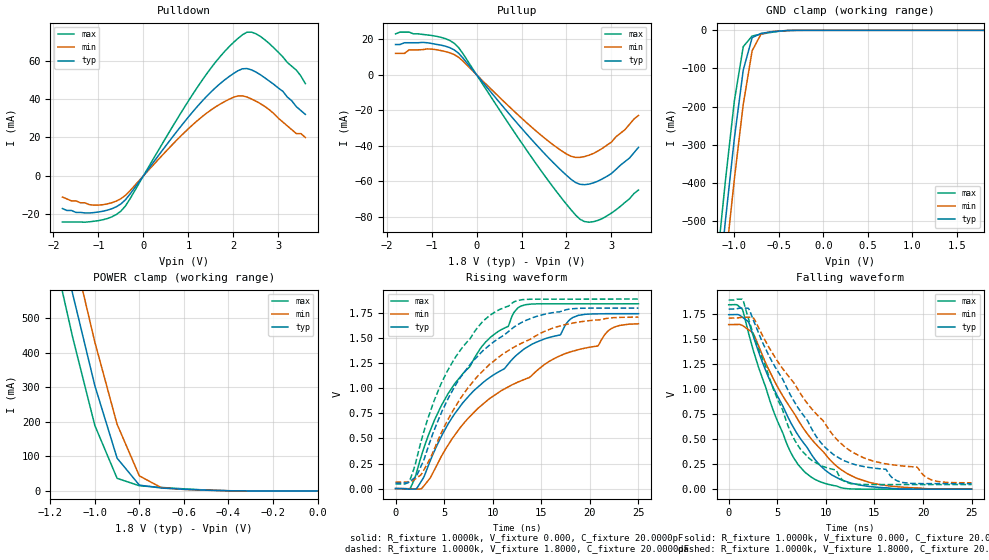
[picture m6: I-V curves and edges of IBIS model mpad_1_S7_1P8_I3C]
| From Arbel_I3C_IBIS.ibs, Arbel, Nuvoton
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[Model]   mpad_1_S7_1P8_I3C
Model_type   I/O
Polarity   Non-Inverting
Enable   Active-Low
Vinl = 0.6000V
Vinh = 1.2300V
C_comp   3.6000pF   3.5000pF   3.7000pF
[Temperature Range]   50.0000   100.0   0.000
[Voltage Range]   1.8000V   1.7100V   1.8900V
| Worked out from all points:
|   slope of the pulldown table from 0 to 0.27 V, typ, clamps not added: 31.6 ohm
|   slope of the pullup table from 0 to 0.27 V, typ, clamps not added: 32.4 ohm
|   GND clamp passes 1 mA (typ) near -0.43 V on its own axis
|   POWER clamp passes 1 mA (typ) near -0.43 V on its own axis
|   rising waveform, R_fixture 1.0000k, V_fixture 0.000, C_fixture 20.0000pF: 20-80 % time 9.4ns typ, 12ns min, 6.61ns max; typ from 0 V to 1.74 V
|   rising waveform, R_fixture 1.0000k, V_fixture 1.8000, C_fixture 20.0000pF: 20-80 % time 6.62ns typ, 7.71ns min, 5.37ns max; typ from 0.055 V to 1.8 V
|   falling waveform, R_fixture 1.0000k, V_fixture 0.000, C_fixture 20.0000pF: 20-80 % time 5.51ns typ, 6.55ns min, 4.1ns max; typ from 1.74 V to 0 V
|   falling waveform, R_fixture 1.0000k, V_fixture 1.8000, C_fixture 20.0000pF: 20-80 % time 6.52ns typ, 8.01ns min, 4.65ns max; typ from 1.8 V to 0.055 V
[Pulldown]
|   *******  Pulldown data is GROUND relative! *******
| voltage   I(typ)   I(min)   I(max)
-1.8V     -17mA      -11mA      -24mA
-1.1V     -19.1mA    -15.2mA    -23.6mA
-500mV    -14.6mA    -11.87mA   -18.32mA
-300mV    -9.56mA    -7.792mA   -12.04mA
1.3V      38.74mA    30.71mA    49.55mA
2V        53.21mA    40.88mA    69.37mA
2.3V      55.84mA    41.05mA    74.74mA
2.5V      54.06mA    38.88mA    73.97mA
2.8V      49.3mA     34.4mA     68.81mA
3.1V      44mA       28mA       61.9mA
3.4V      36mA       22mA       55mA
3.6V      32mA       20mA       48mA
[Pullup]
|   *******  Pullup data is VCC relative! *******
| voltage   I(typ)   I(min)   I(max)
-1.8V     17mA       12mA       23mA
-1.5V     18mA       14mA       24mA
-1V       17.6mA     14.4mA     22.1mA
-600mV    15.27mA    12.37mA    19.33mA
-400mV    12.1mA     9.834mA    15.35mA
1.5V      -44.18mA   -35.5mA    -56.43mA
2V        -56.74mA   -44.7mA    -73.07mA
2.3V      -61.79mA   -46.63mA   -81.49mA
2.5V      -61.69mA   -45.39mA   -83.16mA
2.8V      -58.7mA    -41.5mA    -81.08mA
3.4V      -47mA      -28mA      -70mA
3.6V      -41mA      -23mA      -65mA
[GND_clamp]
| voltage   I(typ)   I(min)   I(max)
-1.8V     -2.193A    -2.298A    -2.097A
-1.2V     -728.1mA   -839.7mA   -623.2mA
-1.1V     -498.9mA   -609.8mA   -394.2mA
-1V       -283.8mA   -390.8mA   -185.4mA
-900mV    -104.2mA   -194mA     -42.71mA
-800mV    -19.12mA   -53.44mA   -14.95mA
-700mV    -7.96mA    -9.653mA   -9.92mA
-600mV    -4.561mA   -3.953mA   -5.865mA
-500mV    -2.019mA   -1.748mA   -2.59mA
-300mV    -36.02uA   -50.05uA   -31.18uA
1.8V      6.952nA    188.8nA    4.146nA
[POWER_clamp]
| voltage   I(typ)   I(min)   I(max)
-1.8V     2.714A     2.839A     2.599A
-1.2V     859.3mA    992.9mA    733mA
-1.1V     571.2mA    703.7mA    445.6mA
-1V       304.6mA    430.7mA    189.4mA
-900mV    94.79mA    192.9mA    36.48mA
-800mV    16.82mA    43.46mA    14.94mA
-700mV    8.218mA    9.002mA    10.09mA
-600mV    4.82mA     4.316mA    5.998mA
-400mV    511.4uA    556.1uA    552.2uA
0V        6.952nA    19.66nA    9.576nA
[Ramp]
| variable   typ   min   max
dV/dt_r   1.0464/2.4875n   0.9870/10.7132n   1.1058/1.4654n
dV/dt_f   1.0471/2.8585n   0.9878/4.1006n   1.1064/1.5208n
R_load = 1.0000k
[Rising Waveform]
R_fixture = 1.0000k
V_fixture = 0.000
C_fixture = 20.0000pF
| time   V(typ)   V(min)   V(max)
0s        734.1nV    1.146uV    634.3nV
1.452ns   -5.465mV   -2.16mV    -3.225mV
2.177ns   2.656mV    -5.17mV    168mV
3.529ns   268.1mV    100mV      568.5mV
5.28ns    622mV      414.3mV    927.7mV
8.383ns   1.005V     792.2mV    1.346V
12.61ns   1.345V     1.063V     1.804V
16.94ns   1.532V     1.325V     1.843V
18.82ns   1.728V     1.385V     1.843V
25ns      1.744V     1.644V     1.843V
[Rising Waveform]
R_fixture = 1.0000k
V_fixture = 1.8000
V_fixture_min = 1.7100
V_fixture_max = 1.8900
C_fixture = 20.0000pF
| time   V(typ)   V(min)   V(max)
0s        54.87mV    63.58mV    45.96mV
1.452ns   69mV       63.51mV    82.76mV
2.628ns   224.5mV    139.8mV    470.7mV
3.854ns   551.8mV    365.6mV    848.4mV
5.255ns   867.6mV    662.6mV    1.16V
7.658ns   1.236V     1.028V     1.493V
9.61ns    1.426V     1.232V     1.721V
12.56ns   1.634V     1.43V      1.876V
15.34ns   1.739V     1.568V     1.89V
25ns      1.8V       1.71V      1.89V
[Falling Waveform]
R_fixture = 1.0000k
V_fixture = 0.000
C_fixture = 20.0000pF
| time   V(typ)   V(min)   V(max)
0s        1.744V     1.645V     1.843V
1.376ns   1.722V     1.638V     1.803V
2.052ns   1.668V     1.593V     1.557V
2.603ns   1.508V     1.543V     1.364V
3.804ns   1.187V     1.263V     1.021V
6.056ns   728.3mV    856.7mV    436.3mV
8.459ns   355.7mV    507.5mV    122.2mV
10.56ns   144.4mV    279.6mV    41.02mV
14.36ns   28.02mV    70.32mV    69.72uV
25ns      916nV      9.342uV    773.9nV
[Falling Waveform]
R_fixture = 1.0000k
V_fixture = 1.8000
V_fixture_min = 1.7100
V_fixture_max = 1.8900
C_fixture = 20.0000pF
| time   V(typ)   V(min)   V(max)
0s        1.8V       1.71V      1.89V
1.426ns   1.81V      1.719V     1.897V
2.102ns   1.798V     1.719V     1.681V
6.482ns   918.8mV    1.091V     548.6mV
8.634ns   587mV      792.7mV    281.8mV
10.76ns   346.7mV    538mV      197.2mV
13.76ns   228.2mV    318.1mV    46.66mV
17.87ns   67mV       231.5mV    45.96mV
21.4ns    54.9mV     78.16mV    45.96mV
25ns      54.87mV    63.68mV    45.96mV
